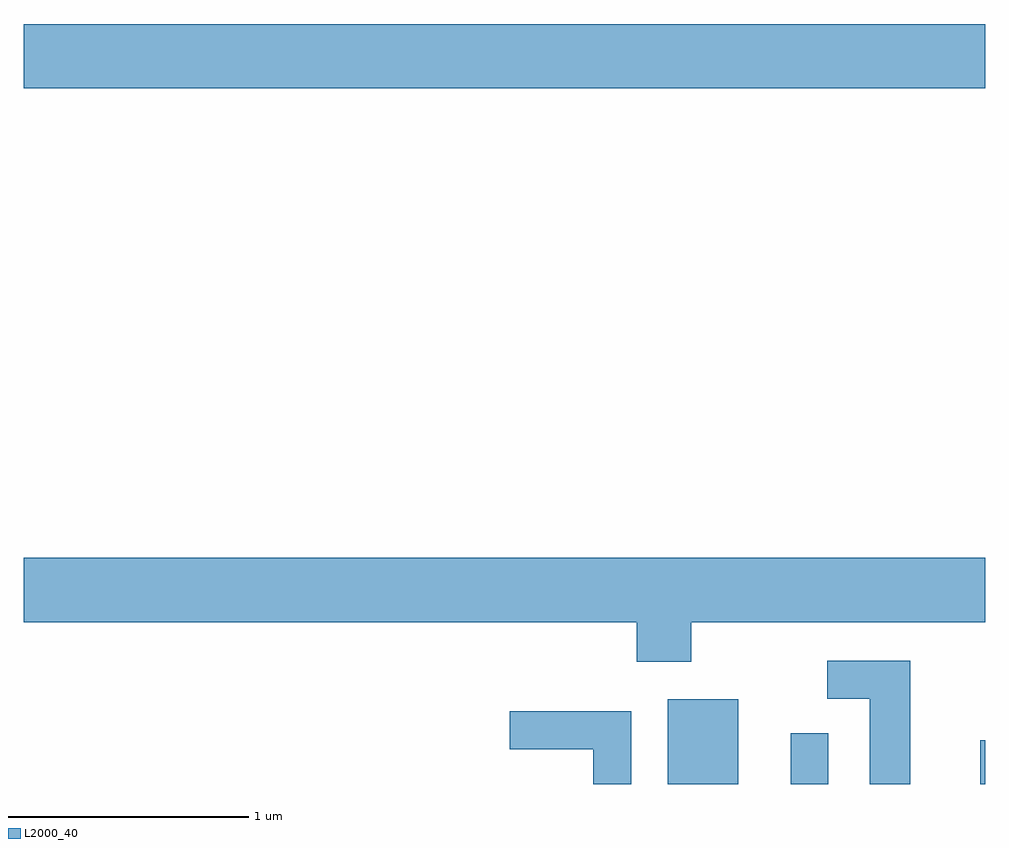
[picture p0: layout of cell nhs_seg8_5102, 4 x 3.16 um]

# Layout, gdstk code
import gdstk
lib = gdstk.Library(unit=1e-6, precision=1e-09)
def R(c, l, rs):  # rectangles x0, y0, x1, y1
    for r in rs: c.add(gdstk.rectangle(r[:2], r[2:], *l))
def P(c, l, *ps):  # polygons
    for p in ps: c.add(gdstk.Polygon(p, *l))
L2000_40 = (2000, 40)

nhs_seg8_5102 = lib.new_cell('nhs_seg8_5102')
R(nhs_seg8_5102, L2000_40, [(340.291,1902.342,340.584,1902.694), (340.801,1902.342,340.959,1902.553), (341.591,1902.342,341.611,1902.524), (337.611,1905.236,341.611,1905.504)])
P(nhs_seg8_5102, L2000_40, [(340.389,1903.016),(341.611,1903.016),(341.611,1903.284),(337.611,1903.284),(337.611,1903.016),(340.161,1903.016),(340.161,1902.851),(340.389,1902.851)],
  [(341.299,1902.854),(340.953,1902.854),(340.953,1902.696),(341.131,1902.696),(341.131,1902.342),(341.299,1902.342)],
  [(340.139,1902.644),(339.633,1902.644),(339.633,1902.486),(339.981,1902.486),(339.981,1902.342),(340.139,1902.342)])

lib.write_gds('nhs_seg8_5102.gds')
